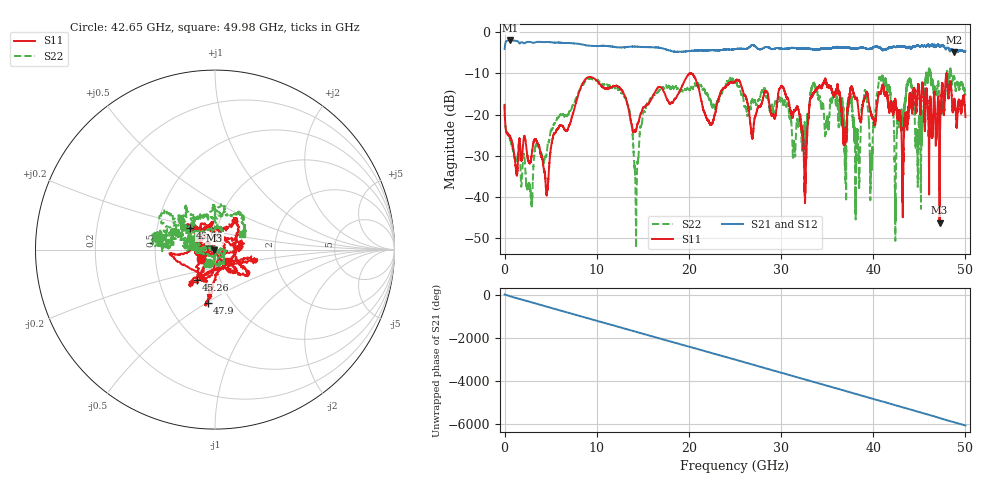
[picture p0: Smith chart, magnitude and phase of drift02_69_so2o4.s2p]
!Created with skrf (http://scikit-rf.org).
# Hz S RI R 50.0
!freq ReS11 ImS11 ReS21 ImS21 ReS12 ImS12 ReS22 ImS22
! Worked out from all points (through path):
!   10001 points, 300 kHz to 50 GHz, reference 50 ohm
!   highest |S21| = -1.99 dB at 610.3 MHz (marker M1); lowest = -4.9 dB at 48.77 GHz (marker M2)
!   group delay of S21, straight-line fit = 337 ps
!   lowest |S11| = -46.3 dB at 47.2 GHz (marker M3), VSWR 1.01, Z = 49.6 - j0.299 ohm
!   |S11| at or under -10 dB: start of sweep to 20.07 GHz; 20.24 GHz to 47.93 GHz (27.69 GHz wide, 81.2 % of centre); 47.93 GHz to end of sweep (the widest 3 of 6)
!   |S22| runs from -52.0 to -8.7 dB; largest |S21 - S12| = 0.034
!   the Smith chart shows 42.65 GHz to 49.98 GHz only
!   S11 on the Smith chart (normalised r, x): 42.65 GHz: 0.86, -0.09; 43.96 GHz: 0.74, +0.18; 45.26 GHz: 0.77, -0.27; 47.9 GHz: 0.77, -0.51; 49.98 GHz: 1.15, -0.15
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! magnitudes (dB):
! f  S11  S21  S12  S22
! 300 kHz  -17.8  -4.1  -4.0  -17.4
! 610.3 MHz  -25.5  -2.0  -2.0  -26.2
! 4.565 GHz  -39.6  -2.4  -2.4  -29.4
! 8.335 GHz  -13.0  -2.9  -2.9  -13.2
! 13.01 GHz  -15.3  -3.6  -3.6  -15.7
! 14.28 GHz  -23.8  -3.5  -3.5  -47.9
! 16.67 GHz  -13.3  -3.7  -3.7  -14.5
! 25 GHz  -12.1  -4.1  -4.1  -12.2
! 30.19 GHz  -13.4  -4.1  -4.1  -17.1
! 32.57 GHz  -38.0  -3.9  -3.9  -24.8
! 33.34 GHz  -15.7  -4.1  -4.1  -13.5
! 37.48 GHz  -14.7  -3.9  -3.8  -15.9
! 38.29 GHz  -16.7  -3.9  -3.9  -23.6
! 41.67 GHz  -18.3  -3.8  -3.9  -12.8
! 42.65 GHz  -20.9  -3.5  -3.5  -21.6
! 43.96 GHz  -14.8  -3.6  -3.6  -11.4
! 45.26 GHz  -14.1  -3.3  -3.3  -22.5
! 47.2 GHz  -46.3  -3.4  -3.4  -17.2
! 47.9 GHz  -10.4  -4.1  -4.0  -12.7
! 48.77 GHz  -16.9  -4.9  -4.8  -10.9
! 49.98 GHz  -20.1  -4.6  -4.6  -15.1
! 50 GHz  -20.6  -4.6  -4.6  -15.4
